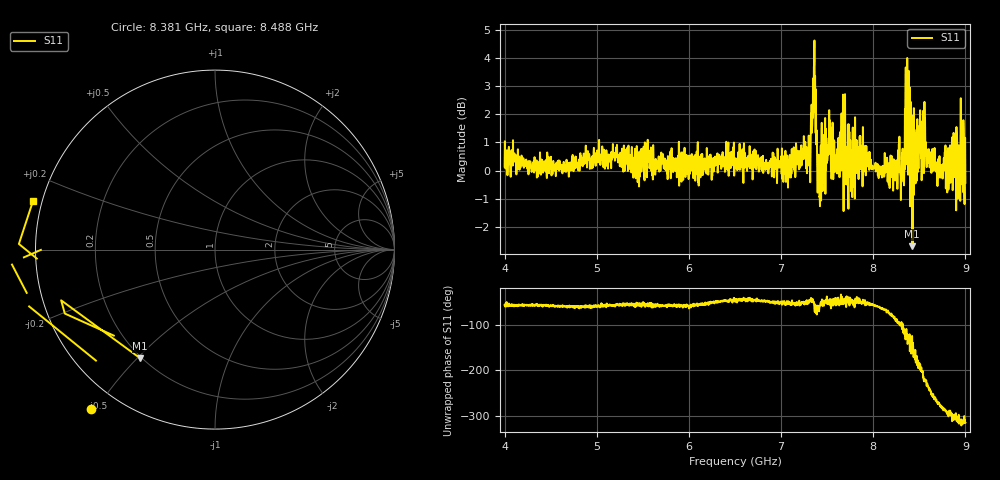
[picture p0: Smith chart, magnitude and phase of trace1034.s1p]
! Created with skrf 1.8.0 (http://scikit-rf.org).
# Hz S RI R 50.0
!freq ReS11 ImS11
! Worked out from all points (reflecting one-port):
!   1601 points, 4 GHz to 9 GHz, reference 50 ohm
!   lowest |S11| = -2.7 dB at 8.422 GHz (marker M1), VSWR 6.55, Z = 9.68 - j25.5 ohm
!   phase of S11 starts at -57 deg and turns -257 deg over the sweep
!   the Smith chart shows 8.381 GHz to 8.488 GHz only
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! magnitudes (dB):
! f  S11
! 4 GHz  0.1
! 4.625 GHz  -0.1
! 5.25 GHz  0.2
! 5.875 GHz  0.2
! 6.5 GHz  0.3
! 7.125 GHz  0.6
! 7.294 GHz  0.4
! 7.319 GHz  0.4
! 7.353 GHz  2.1
! 7.369 GHz  3.4
! 7.397 GHz  -0.8
! 7.412 GHz  -0.1
! 7.509 GHz  0.7
! 7.591 GHz  0.3
! 7.669 GHz  0.6
! 7.703 GHz  -0.1
! 7.75 GHz  1.1
! 7.869 GHz  0.7
! 8.075 GHz  -0.1
! 8.316 GHz  0.0
! 8.344 GHz  2.2
! 8.375 GHz  0.3
! 8.422 GHz  -2.7
! 8.556 GHz  2.4
! 8.684 GHz  0.3
! 8.812 GHz  0.8
! 8.959 GHz  1.3
! 9 GHz  -0.4
